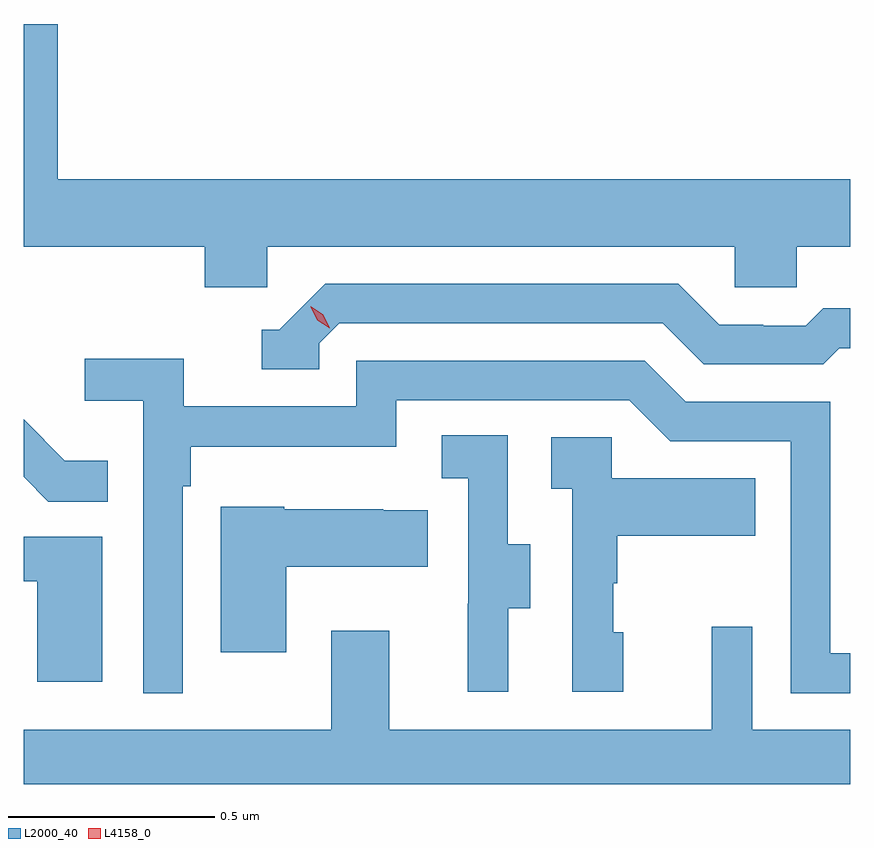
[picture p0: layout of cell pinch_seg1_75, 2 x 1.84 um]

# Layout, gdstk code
import gdstk
lib = gdstk.Library(unit=1e-6, precision=1e-09)
def P(c, l, *ps):  # polygons
    for p in ps: c.add(gdstk.Polygon(p, *l))
L2000_40 = (2000, 40)
L4158_0 = (4158, 0)

pinch_seg1_75 = lib.new_cell('pinch_seg1_75')
P(pinch_seg1_75, L2000_40, [(1028.814,573.044),(1029.945,573.044),(1029.945,572.946),(1030.095,572.946),(1030.095,573.044),(1030.225,573.044),(1030.225,573.208),(1028.308,573.208),(1028.308,573.583),(1028.225,573.583),(1028.225,573.044),(1028.663,573.044),(1028.663,572.946),(1028.814,572.946)],
  [(1028.94,572.811),(1028.988,572.859),(1029.771,572.859),(1029.87,572.76),(1030.159,572.76),(1030.198,572.799),(1030.225,572.799),(1030.225,572.896),(1030.159,572.896),(1030.117,572.853),(1030.014,572.853),(1030.014,572.856),(1029.907,572.856),(1029.808,572.955),(1028.955,572.955),(1028.844,572.844),(1028.801,572.844),(1028.801,572.748),(1028.94,572.748)],
  [(1028.61,572.465),(1028.63,572.465),(1028.63,572.561),(1029.126,572.561),(1029.126,572.673),(1029.69,572.673),(1029.789,572.574),(1030.08,572.574),(1030.08,571.965),(1030.225,571.965),(1030.225,572.061),(1030.176,572.061),(1030.176,572.67),(1029.826,572.67),(1029.727,572.769),(1029.03,572.769),(1029.03,572.658),(1028.612,572.658),(1028.612,572.774),(1028.373,572.774),(1028.373,572.672),(1028.514,572.672),(1028.514,571.965),(1028.61,571.965)],
  [(1028.429,572.527),(1028.325,572.527),(1028.225,572.627),(1028.225,572.488),(1028.285,572.428),(1028.429,572.428)],
  [(1029.397,572.17),(1029.451,572.17),(1029.451,572.325),(1029.396,572.325),(1029.396,572.588),(1029.237,572.588),(1029.237,572.485),(1029.3,572.485),(1029.3,572.181),(1029.299,572.181),(1029.299,571.968),(1029.397,571.968)],
  [(1029.676,572.112),(1029.651,572.112),(1029.651,572.231),(1029.661,572.231),(1029.661,572.345),(1029.995,572.345),(1029.995,572.485),(1029.648,572.485),(1029.648,572.583),(1029.501,572.583),(1029.501,572.459),(1029.552,572.459),(1029.552,571.968),(1029.676,571.968)],
  [(1028.86,572.27),(1029.203,572.27),(1029.203,572.407),(1029.095,572.407),(1029.095,572.41),(1028.856,572.41),(1028.856,572.416),(1028.702,572.416),(1028.702,572.064),(1028.86,572.064)],
  [(1028.416,572.343),(1028.225,572.343),(1028.225,572.235),(1028.258,572.235),(1028.258,571.992),(1028.416,571.992)],
  [(1030.225,571.876),(1029.987,571.876),(1029.987,572.125),(1029.89,572.125),(1029.89,571.876),(1029.109,571.876),(1029.109,572.116),(1028.969,572.116),(1028.969,571.876),(1028.225,571.876),(1028.225,571.745),(1030.225,571.745)])
P(pinch_seg1_75, L4158_0, [(1028.966,572.847),(1028.935,572.867),(1028.92,572.899),(1028.92,572.9),(1028.92,572.9),(1028.95,572.88),(1028.966,572.847),(1028.966,572.847)])

lib.write_gds('pinch_seg1_75.gds')
